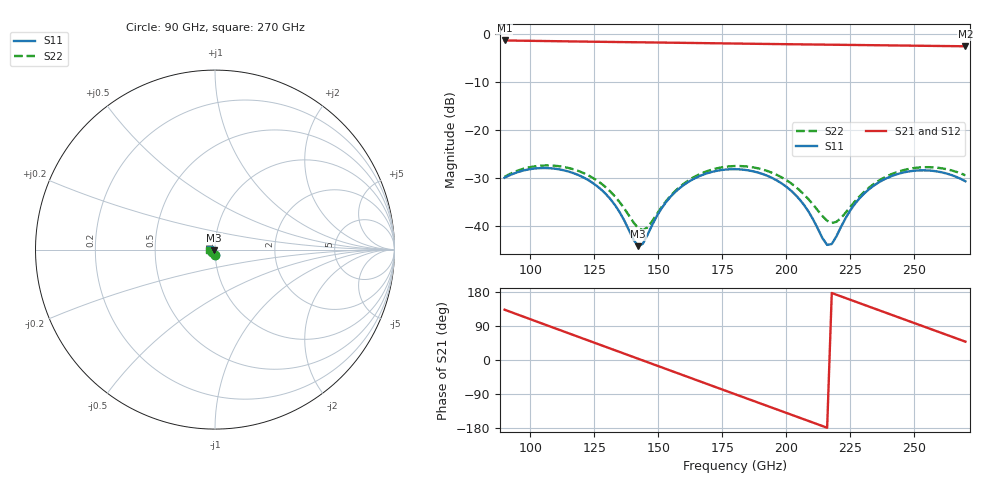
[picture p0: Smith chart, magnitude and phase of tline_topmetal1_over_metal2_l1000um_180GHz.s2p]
#  GHZ S DB R 50
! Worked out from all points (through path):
!   101 points, 90 GHz to 270 GHz, reference 50 ohm
!   highest |S21| = -1.42 dB at 90 GHz (marker M1); lowest = -2.6 dB at 270 GHz (marker M2)
!   group delay of S21, straight-line fit = 6.85 ps
!   lowest |S11| = -44.2 dB at 142.2 GHz (marker M3), VSWR 1.01, Z = 49.5 - j0.367 ohm
!   |S11| at or under -10 dB: start of sweep to end of sweep
!   |S22| runs from -40.9 to -27.4 dB; largest |S21 - S12| = 9.4e-14
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90  -29.97 -89.1  -1.42 132.6  -1.42 132.6  -29.78 -89.4
99  -28.27 -110.4  -1.49 110.3  -1.49 110.3  -27.87 -109.4
106.2  -27.96 -128.0  -1.54 92.4  -1.54 92.4  -27.41 -125.9
120.6  -29.85 -161.5  -1.65 56.7  -1.65 56.7  -28.94 -157.4
131.4  -34.46 179.3  -1.73 30.0  -1.73 30.0  -32.89 -174.5
142.2  -44.20 -143.0  -1.80 3.3  -1.80 3.3  -40.46 -151.4
145.8  -41.89 -105.0  -1.82 -5.7  -1.82 -5.7  -40.29 -121.7
151.2  -36.42 -92.6  -1.86 -19.0  -1.86 -19.0  -36.17 -100.8
163.8  -30.22 -110.7  -1.95 -50.2  -1.95 -50.2  -29.88 -110.8
172.8  -28.54 -129.8  -2.01 -72.4  -2.01 -72.4  -28.03 -127.6
180  -28.19 -145.7  -2.06 -90.2  -2.06 -90.2  -27.54 -142.1
189  -28.89 -165.3  -2.12 -112.3  -2.12 -112.3  -28.02 -159.9
198  -31.07 176.7  -2.18 -134.5  -2.18 -134.5  -29.82 -175.6
205.2  -34.45 166.1  -2.23 -152.2  -2.23 -152.2  -32.55 176.1
210.6  -38.72 166.8  -2.26 -165.5  -2.26 -165.5  -35.62 177.4
216  -43.94 -158.9  -2.29 -178.8  -2.29 -178.8  -38.92 -163.6
217.8  -43.75 -137.0  -2.30 176.8  -2.30 176.8  -39.37 -151.9
221.4  -40.21 -111.0  -2.33 167.9  -2.33 167.9  -38.35 -129.7
228.6  -34.28 -106.8  -2.37 150.2  -2.37 150.2  -33.87 -114.9
241.2  -29.62 -127.5  -2.45 119.2  -2.45 119.2  -29.21 -127.8
255.6  -28.46 -157.0  -2.54 83.8  -2.54 83.8  -27.77 -153.1
270  -30.70 175.0  -2.63 48.5  -2.63 48.5  -29.47 -177.0
